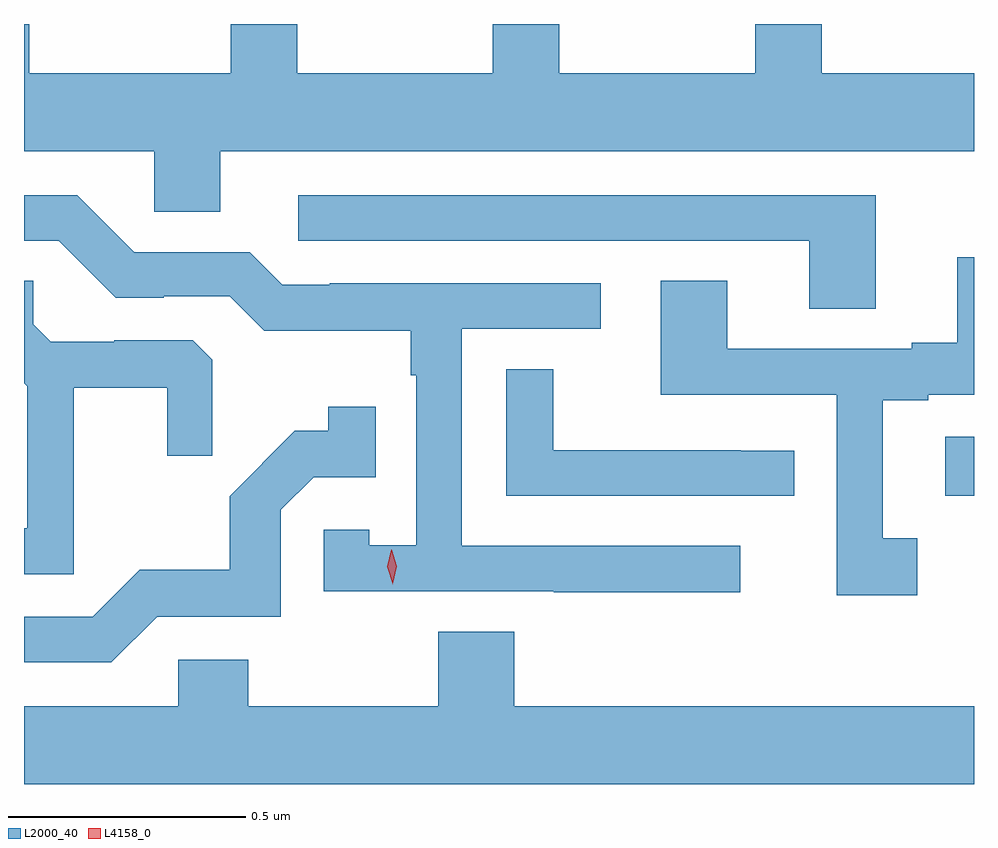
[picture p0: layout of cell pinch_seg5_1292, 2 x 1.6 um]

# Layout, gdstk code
import gdstk
lib = gdstk.Library(unit=1e-6, precision=1e-09)
def R(c, l, rs):  # rectangles x0, y0, x1, y1
    for r in rs: c.add(gdstk.rectangle(r[:2], r[2:], *l))
def P(c, l, *ps):  # polygons
    for p in ps: c.add(gdstk.Polygon(p, *l))
L2000_40 = (2000, 40)
L4158_0 = (4158, 0)

pinch_seg5_1292 = lib.new_cell('pinch_seg5_1292')
R(pinch_seg5_1292, L2000_40, [(457.329,870.687,457.39,870.811)])
P(pinch_seg5_1292, L2000_40, [(455.803,871.412),(457.39,871.412),(457.39,871.576),(457.069,871.576),(457.069,871.68),(456.929,871.68),(456.929,871.576),(456.517,871.576),(456.517,871.68),(456.377,871.68),(456.377,871.576),(455.965,871.576),(455.965,871.68),(455.825,871.68),(455.825,871.576),(455.401,871.576),(455.401,871.68),(455.39,871.68),(455.39,871.412),(455.664,871.412),(455.664,871.285),(455.803,871.285)],
  [(457.183,871.32),(455.967,871.32),(455.967,871.224),(457.043,871.224),(457.043,871.081),(457.183,871.081)],
  [(456.898,870.582),(456.312,870.582),(456.312,871.038),(456.604,871.038),(456.604,871.134),(456.034,871.134),(456.034,871.131),(455.934,871.131),(455.865,871.2),(455.622,871.2),(455.502,871.32),(455.39,871.32),(455.39,871.224),(455.463,871.224),(455.583,871.104),(455.684,871.104),(455.684,871.107),(455.823,871.107),(455.896,871.034),(456.204,871.034),(456.204,870.941),(456.216,870.941),(456.216,870.583),(456.117,870.583),(456.117,870.615),(456.021,870.615),(456.021,870.486),(456.505,870.486),(456.505,870.484),(456.898,870.484)],
  [(457.27,870.597),(457.198,870.597),(457.198,870.888),(457.294,870.888),(457.294,870.9),(457.39,870.9),(457.39,871.189),(457.355,871.189),(457.355,871.009),(457.259,871.009),(457.259,870.996),(456.871,870.996),(456.871,871.139),(456.731,871.139),(456.731,870.9),(457.101,870.9),(457.101,870.477),(457.27,870.477)],
  [(455.495,870.914),(455.692,870.914),(455.692,870.771),(455.786,870.771),(455.786,870.973),(455.745,871.014),(455.58,871.014),(455.58,871.011),(455.446,871.011),(455.409,871.048),(455.409,871.139),(455.39,871.139),(455.39,870.924),(455.397,870.917),(455.397,870.618),(455.39,870.618),(455.39,870.522),(455.495,870.522)],
  [(457.012,870.782),(456.899,870.782),(456.899,870.783),(456.504,870.783),(456.504,870.953),(456.405,870.953),(456.405,870.687),(457.012,870.687)],
  [(455.67,870.432),(455.931,870.432),(455.931,870.657),(456,870.726),(456.131,870.726),(456.131,870.874),(456.03,870.874),(456.03,870.824),(455.96,870.824),(455.823,870.686),(455.823,870.531),(455.634,870.531),(455.535,870.432),(455.39,870.432),(455.39,870.336),(455.574,870.336)],
  [(457.39,870.244),(456.422,870.244),(456.422,870.401),(456.262,870.401),(456.262,870.244),(455.862,870.244),(455.862,870.342),(455.715,870.342),(455.715,870.244),(455.39,870.244),(455.39,870.08),(457.39,870.08)])
P(pinch_seg5_1292, L4158_0, [(456.166,870.501),(456.166,870.502),(456.155,870.537),(456.163,870.573),(456.164,870.573),(456.164,870.573),(456.175,870.538),(456.166,870.502)])

lib.write_gds('pinch_seg5_1292.gds')
